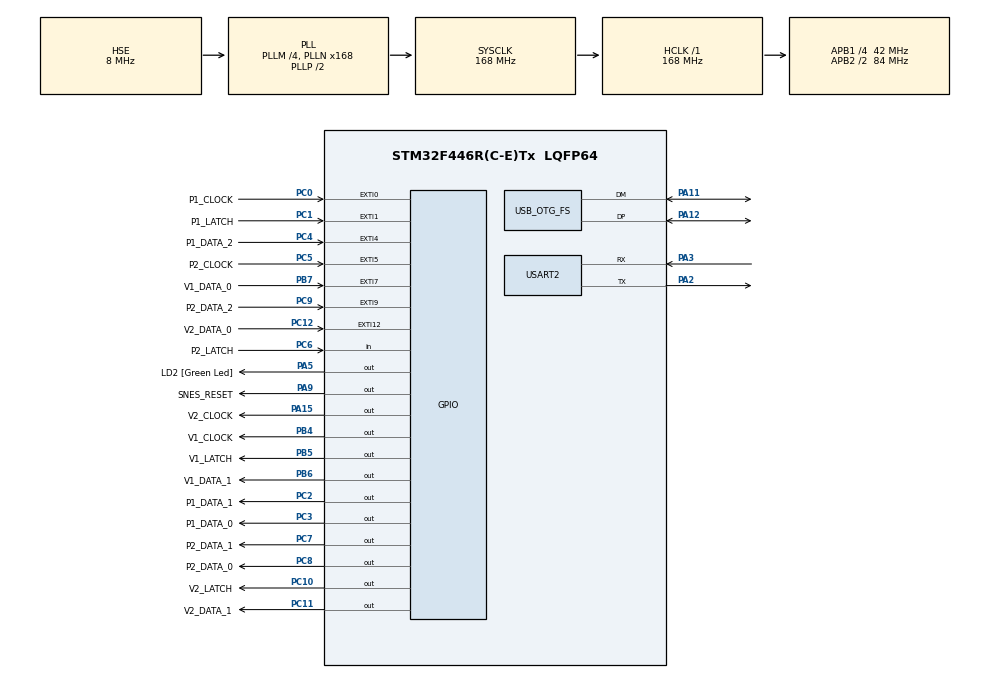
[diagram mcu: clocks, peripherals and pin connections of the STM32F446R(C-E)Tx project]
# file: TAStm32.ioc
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Mcu.Family=STM32F4
Mcu.Name=STM32F446R(C-E)Tx
Mcu.Package=LQFP64
NVIC.EXTI0_IRQn=true\:0\:0\:true\:false\:true\:true\:true
NVIC.EXTI15_10_IRQn=true\:0\:0\:false\:false\:true\:true\:true
NVIC.EXTI1_IRQn=true\:1\:0\:true\:false\:true\:true\:true
NVIC.EXTI4_IRQn=true\:0\:0\:false\:false\:true\:true\:true
NVIC.EXTI9_5_IRQn=true\:0\:0\:true\:false\:true\:true\:true
NVIC.OTG_FS_IRQn=true\:3\:0\:true\:false\:true\:true\:true
NVIC.PriorityGroup=NVIC_PRIORITYGROUP_4
NVIC.TIM1_UP_TIM10_IRQn=true\:0\:0\:false\:false\:true\:true\:true
NVIC.TIM3_IRQn=true\:2\:0\:true\:false\:true\:true\:true
NVIC.TIM6_DAC_IRQn=true\:0\:0\:true\:false\:true\:true\:true
NVIC.TIM7_IRQn=true\:0\:0\:true\:false\:true\:true\:true
NVIC.USART2_IRQn=true\:3\:0\:true\:false\:true\:true\:true
PA11.Mode=Device_Only
PA11.Signal=USB_OTG_FS_DM
PA12.Mode=Device_Only
PA12.Signal=USB_OTG_FS_DP
PA13.GPIO_Label=TMS
PA13.Mode=Serial_Wire
PA13.Signal=SYS_JTMS-SWDIO
PA14.GPIO_Label=TCK
PA14.Mode=Serial_Wire
PA14.Signal=SYS_JTCK-SWCLK
PA15.GPIO_Label=V2_CLOCK
PA15.GPIO_Speed=GPIO_SPEED_FREQ_VERY_HIGH
PA15.PinState=GPIO_PIN_RESET
PA15.Signal=GPIO_Output
PA2.Mode=Asynchronous
PA2.Signal=USART2_TX
PA3.Mode=Asynchronous
PA3.Signal=USART2_RX
PA5.GPIO_Label=LD2 [Green Led]
PA5.PinState=GPIO_PIN_RESET
PA5.Signal=GPIO_Output
PA9.GPIO_Label=SNES_RESET
PA9.GPIO_ModeDefaultOutputPP=GPIO_MODE_OUTPUT_OD
PA9.GPIO_PuPd=GPIO_NOPULL
PA9.GPIO_Speed=GPIO_SPEED_FREQ_VERY_HIGH
PA9.PinState=GPIO_PIN_SET
PA9.Signal=GPIO_Output
PB3.GPIO_Label=SWO
PB3.Signal=SYS_JTDO-SWO
PB4.GPIO_Label=V1_CLOCK
PB4.GPIO_Speed=GPIO_SPEED_FREQ_VERY_HIGH
PB4.PinState=GPIO_PIN_RESET
PB4.Signal=GPIO_Output
PB5.GPIO_Label=V1_LATCH
PB5.GPIO_Speed=GPIO_SPEED_FREQ_VERY_HIGH
PB5.Signal=GPIO_Output
PB6.GPIO_Label=V1_DATA_1
PB6.GPIO_Speed=GPIO_SPEED_FREQ_VERY_HIGH
PB6.PinState=GPIO_PIN_RESET
PB6.Signal=GPIO_Output
PB7.GPIO_Label=V1_DATA_0
PB7.GPIO_ModeDefaultEXTI=GPIO_MODE_IT_FALLING
PB7.Signal=GPXTI7
PC0.GPIO_Label=P1_CLOCK
PC0.Signal=GPXTI0
PC1.GPIO_Label=P1_LATCH
PC1.Signal=GPXTI1
PC10.GPIO_Label=V2_LATCH
PC10.GPIO_Speed=GPIO_SPEED_FREQ_VERY_HIGH
PC10.PinState=GPIO_PIN_RESET
PC10.Signal=GPIO_Output
PC11.GPIO_Label=V2_DATA_1
PC11.GPIO_Speed=GPIO_SPEED_FREQ_VERY_HIGH
PC11.PinState=GPIO_PIN_RESET
PC11.Signal=GPIO_Output
PC12.GPIO_Label=V2_DATA_0
PC12.GPIO_ModeDefaultEXTI=GPIO_MODE_IT_FALLING
PC12.Signal=GPXTI12
PC2.GPIO_Label=P1_DATA_1
PC2.GPIO_ModeDefaultOutputPP=GPIO_MODE_OUTPUT_OD
PC2.GPIO_PuPd=GPIO_PULLUP
PC2.GPIO_Speed=GPIO_SPEED_FREQ_VERY_HIGH
PC2.PinState=GPIO_PIN_RESET
PC2.Signal=GPIO_Output
PC3.GPIO_Label=P1_DATA_0
PC3.GPIO_ModeDefaultOutputPP=GPIO_MODE_OUTPUT_OD
PC3.GPIO_PuPd=GPIO_PULLUP
PC3.GPIO_Speed=GPIO_SPEED_FREQ_VERY_HIGH
PC3.PinState=GPIO_PIN_RESET
PC3.Signal=GPIO_Output
PC4.GPIO_Label=P1_DATA_2
PC4.GPIO_ModeDefaultEXTI=GPIO_MODE_IT_FALLING
PC4.Signal=GPXTI4
PC5.GPIO_Label=P2_CLOCK
PC5.Signal=GPXTI5
PC6.GPIO_Label=P2_LATCH
PC6.Signal=GPIO_Input
PC7.GPIO_Label=P2_DATA_1
PC7.GPIO_ModeDefaultOutputPP=GPIO_MODE_OUTPUT_OD
PC7.GPIO_PuPd=GPIO_PULLUP
PC7.GPIO_Speed=GPIO_SPEED_FREQ_VERY_HIGH
PC7.PinState=GPIO_PIN_RESET
PC7.Signal=GPIO_Output
PC8.GPIO_Label=P2_DATA_0
PC8.GPIO_ModeDefaultOutputPP=GPIO_MODE_OUTPUT_OD
PC8.GPIO_PuPd=GPIO_PULLUP
PC8.GPIO_Speed=GPIO_SPEED_FREQ_VERY_HIGH
PC8.PinState=GPIO_PIN_RESET
PC8.Signal=GPIO_Output
PC9.GPIO_Label=P2_DATA_2
PC9.GPIO_ModeDefaultEXTI=GPIO_MODE_IT_FALLING
PC9.Signal=GPXTI9
PH0-OSC_IN.Mode=HSE-External-Oscillator
PH0-OSC_IN.Signal=RCC_OSC_IN
PH1-OSC_OUT.Mode=HSE-External-Oscillator
PH1-OSC_OUT.Signal=RCC_OSC_OUT
ProjectManager.HeapSize=0x200
ProjectManager.StackSize=0x400
ProjectManager.TargetToolchain=TrueSTUDIO
RCC.48MHZClocksFreq_Value=84000000
RCC.AHBFreq_Value=168000000
RCC.APB1CLKDivider=RCC_HCLK_DIV4
RCC.APB1Freq_Value=42000000
RCC.APB1TimFreq_Value=84000000
RCC.APB2CLKDivider=RCC_HCLK_DIV2
RCC.APB2Freq_Value=84000000
RCC.APB2TimFreq_Value=168000000
RCC.CortexFreq_Value=168000000
RCC.FLatency-AdvancedSettings=FLASH_LATENCY_5
RCC.HCLKFreq_Value=168000000
RCC.HSE_VALUE=8000000
RCC.HSI_VALUE=16000000
RCC.PLLM=4
RCC.PLLN=168
RCC.PLLQ=7
RCC.PLLSourceVirtual=RCC_PLLSOURCE_HSE
RCC.SYSCLKFreq_VALUE=168000000
RCC.SYSCLKSource=RCC_SYSCLKSOURCE_PLLCLK
RCC.USBFreq_Value=48000000
RCC.VCOOutputFreq_Value=336000000
TIM10.Period=500-1
TIM10.Prescaler=1680-1
TIM3.Period=200-1
TIM3.Prescaler=8400-1
TIM3.TIM_MasterOutputTrigger=TIM_TRGO_RESET
TIM6.Period=4-1
TIM6.Prescaler=21-1
TIM7.Period=4-1
TIM7.Prescaler=21-1
USART2.VirtualMode=VM_ASYNC
USB_DEVICE.CLASS_NAME_FS=CDC
USB_DEVICE.CONFIGURATION_STRING_CDC_FS=Serial Config
USB_DEVICE.INTERFACE_STRING_CDC_FS=Serial Interface
USB_DEVICE.MANUFACTURER_STRING-CDC_FS=Ownasaurus
USB_DEVICE.PID_CDC_FS=0x07A5
USB_DEVICE.PRODUCT_STRING_CDC_FS=TAStm32 Virtual ComPort
USB_DEVICE.VID-CDC_FS=0xB07
USB_DEVICE.VirtualMode-CDC_FS=Cdc
USB_DEVICE.VirtualModeFS=Cdc_FS
USB_OTG_FS.VirtualMode=Device_Only
VP_TIM10_VS_ClockSourceINT.Mode=Enable_Timer
VP_TIM3_VS_ClockSourceINT.Mode=Internal
VP_TIM6_VS_ClockSourceINT.Mode=Enable_Timer
VP_TIM7_VS_ClockSourceINT.Mode=Enable_Timer
VP_USB_DEVICE_VS_USB_DEVICE_CDC_FS.Mode=CDC_FS
board=NUCLEO-F446RE

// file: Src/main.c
/* USER CODE BEGIN Header */
/**
  ******************************************************************************
  * @file           : main.c
  * @brief          : Main program body
  ******************************************************************************
  ** This notice applies to any and all portions of this file
  * that are not between comment pairs USER CODE BEGIN and
  * USER CODE END. Other portions of this file, whether
  * inserted by the user or by software development tools
  * are owned by their respective copyright owners.
  *
  * COPYRIGHT(c) 2019 STMicroelectronics
  *
  * Redistribution and use in source and binary forms, with or without modification,
  * are permitted provided that the following conditions are met:
  *   1. Redistributions of source code must retain the above copyright notice,
  *      this list of conditions and the following disclaimer.
  *   2. Redistributions in binary form must reproduce the above copyright notice,
  *      this list of conditions and the following disclaimer in the documentation
  *      and/or other materials provided with the distribution.
  *   3. Neither the name of STMicroelectronics nor the names of its contributors
  *      may be used to endorse or promote products derived from this software
  *      without specific prior written permission.
  *
  * THIS SOFTWARE IS PROVIDED BY THE COPYRIGHT HOLDERS AND CONTRIBUTORS "AS IS"
  * AND ANY EXPRESS OR IMPLIED WARRANTIES, INCLUDING, BUT NOT LIMITED TO, THE
  * IMPLIED WARRANTIES OF MERCHANTABILITY AND FITNESS FOR A PARTICULAR PURPOSE ARE
  * DISCLAIMED. IN NO EVENT SHALL THE COPYRIGHT HOLDER OR CONTRIBUTORS BE LIABLE
  * FOR ANY DIRECT, INDIRECT, INCIDENTAL, SPECIAL, EXEMPLARY, OR CONSEQUENTIAL
  * DAMAGES (INCLUDING, BUT NOT LIMITED TO, PROCUREMENT OF SUBSTITUTE GOODS OR
  * SERVICES; LOSS OF USE, DATA, OR PROFITS; OR BUSINESS INTERRUPTION) HOWEVER
  * CAUSED AND ON ANY THEORY OF LIABILITY, WHETHER IN CONTRACT, STRICT LIABILITY,
  * OR TORT (INCLUDING NEGLIGENCE OR OTHERWISE) ARISING IN ANY WAY OUT OF THE USE
  * OF THIS SOFTWARE, EVEN IF ADVISED OF THE POSSIBILITY OF SUCH DAMAGE.
  *
  ******************************************************************************
  */
/* USER CODE END Header */

#include "main.h"
#include "usb_device.h"

/* USER CODE BEGIN Includes */
#include <string.h>
#include "usbd_cdc_if.h"
#include "n64.h"
#include "TASRun.h"
#include "stm32f4xx_it.h"
#include "serial_interface.h"
/* USER CODE END Includes */

TIM_HandleTypeDef htim3;
TIM_HandleTypeDef htim6;
TIM_HandleTypeDef htim7;
TIM_HandleTypeDef htim10;

UART_HandleTypeDef huart2;

/* USER CODE BEGIN PV */
extern volatile uint8_t toggleNext;
extern volatile uint8_t clockFix;
extern volatile uint8_t request_pending;

uint8_t jumpToDFU;
/* USER CODE END PV */

void SystemClock_Config(void);
static void MX_GPIO_Init(void);
static void MX_TIM3_Init(void);
static void MX_TIM6_Init(void);
static void MX_TIM7_Init(void);
static void MX_TIM10_Init(void);
static void MX_USART2_UART_Init(void);

int main(void)
{

  /* MCU Configuration--------------------------------------------------------*/

  /* Reset of all peripherals, Initializes the Flash interface and the Systick. */
  HAL_Init();

  /* Configure the system clock */
  SystemClock_Config();

  /* USER CODE BEGIN SysInit */
  serial_interface_reset();

  /* USER CODE END SysInit */

  /* Initialize all configured peripherals */
  MX_GPIO_Init();
  MX_USB_DEVICE_Init();
  MX_TIM3_Init();
  MX_TIM6_Init();
  MX_TIM7_Init();
  MX_TIM10_Init();
  MX_USART2_UART_Init();
  /* USER CODE BEGIN 2 */

  // all of the interrupts should be disabled before reaching this point
  // they will be re-enabled based on the console and number of controllers being utilized
  DisableConsoleInterrupts();
  jumpToDFU = 0;

  // ensure no buttons are pressed initially
  HAL_GPIO_WritePin(GPIOC, P1_DATA_1_Pin|P1_DATA_0_Pin|P2_DATA_2_Pin|P2_DATA_1_Pin|P2_DATA_0_Pin, GPIO_PIN_SET);

  /* USER CODE END 2 */

  /* Infinite loop */
  while (1)
  {

    /* USER CODE BEGIN 3 */
	  if(jumpToDFU == 1)
	  {
		  JumpToBootLoader();
	  }
  }
  /* USER CODE END 3 */
}

void SystemClock_Config(void)
{
  RCC_OscInitTypeDef RCC_OscInitStruct = {0};
  RCC_ClkInitTypeDef RCC_ClkInitStruct = {0};
  RCC_PeriphCLKInitTypeDef PeriphClkInitStruct = {0};

  /** Configure the main internal regulator output voltage
  */
  __HAL_RCC_PWR_CLK_ENABLE();
  __HAL_PWR_VOLTAGESCALING_CONFIG(PWR_REGULATOR_VOLTAGE_SCALE1);
  /** Initializes the CPU, AHB and APB busses clocks
  */
  RCC_OscInitStruct.OscillatorType = RCC_OSCILLATORTYPE_HSE;
  RCC_OscInitStruct.HSEState = RCC_HSE_ON;
  RCC_OscInitStruct.PLL.PLLState = RCC_PLL_ON;
  RCC_OscInitStruct.PLL.PLLSource = RCC_PLLSOURCE_HSE;
  RCC_OscInitStruct.PLL.PLLM = 4;
  RCC_OscInitStruct.PLL.PLLN = 168;
  RCC_OscInitStruct.PLL.PLLP = RCC_PLLP_DIV2;
  RCC_OscInitStruct.PLL.PLLQ = 7;
  RCC_OscInitStruct.PLL.PLLR = 2;
  if (HAL_RCC_OscConfig(&RCC_OscInitStruct) != HAL_OK)
  {
    Error_Handler();
  }
  /** Initializes the CPU, AHB and APB busses clocks
  */
  RCC_ClkInitStruct.ClockType = RCC_CLOCKTYPE_HCLK|RCC_CLOCKTYPE_SYSCLK
                              |RCC_CLOCKTYPE_PCLK1|RCC_CLOCKTYPE_PCLK2;
  RCC_ClkInitStruct.SYSCLKSource = RCC_SYSCLKSOURCE_PLLCLK;
  RCC_ClkInitStruct.AHBCLKDivider = RCC_SYSCLK_DIV1;
  RCC_ClkInitStruct.APB1CLKDivider = RCC_HCLK_DIV4;
  RCC_ClkInitStruct.APB2CLKDivider = RCC_HCLK_DIV2;

  if (HAL_RCC_ClockConfig(&RCC_ClkInitStruct, FLASH_LATENCY_5) != HAL_OK)
  {
    Error_Handler();
  }
  PeriphClkInitStruct.PeriphClockSelection = RCC_PERIPHCLK_CLK48;
  PeriphClkInitStruct.Clk48ClockSelection = RCC_CLK48CLKSOURCE_PLLQ;
  if (HAL_RCCEx_PeriphCLKConfig(&PeriphClkInitStruct) != HAL_OK)
  {
    Error_Handler();
  }
}

static void MX_TIM3_Init(void)
{

  TIM_ClockConfigTypeDef sClockSourceConfig = {0};
  TIM_MasterConfigTypeDef sMasterConfig = {0};

  htim3.Instance = TIM3;
  htim3.Init.Prescaler = 8400-1;
  htim3.Init.CounterMode = TIM_COUNTERMODE_UP;
  htim3.Init.Period = 200-1;
  htim3.Init.ClockDivision = TIM_CLOCKDIVISION_DIV1;
  htim3.Init.AutoReloadPreload = TIM_AUTORELOAD_PRELOAD_DISABLE;
  if (HAL_TIM_Base_Init(&htim3) != HAL_OK)
  {
    Error_Handler();
  }
  sClockSourceConfig.ClockSource = TIM_CLOCKSOURCE_INTERNAL;
  if (HAL_TIM_ConfigClockSource(&htim3, &sClockSourceConfig) != HAL_OK)
  {
    Error_Handler();
  }
  sMasterConfig.MasterOutputTrigger = TIM_TRGO_RESET;
  sMasterConfig.MasterSlaveMode = TIM_MASTERSLAVEMODE_DISABLE;
  if (HAL_TIMEx_MasterConfigSynchronization(&htim3, &sMasterConfig) != HAL_OK)
  {
    Error_Handler();
  }

}

static void MX_TIM6_Init(void)
{

  TIM_MasterConfigTypeDef sMasterConfig = {0};

  htim6.Instance = TIM6;
  htim6.Init.Prescaler = 21-1;
  htim6.Init.CounterMode = TIM_COUNTERMODE_UP;
  htim6.Init.Period = 4-1;
  htim6.Init.AutoReloadPreload = TIM_AUTORELOAD_PRELOAD_DISABLE;
  if (HAL_TIM_Base_Init(&htim6) != HAL_OK)
  {
    Error_Handler();
  }
  sMasterConfig.MasterOutputTrigger = TIM_TRGO_RESET;
  sMasterConfig.MasterSlaveMode = TIM_MASTERSLAVEMODE_DISABLE;
  if (HAL_TIMEx_MasterConfigSynchronization(&htim6, &sMasterConfig) != HAL_OK)
  {
    Error_Handler();
  }

}

static void MX_TIM7_Init(void)
{

  TIM_MasterConfigTypeDef sMasterConfig = {0};

  htim7.Instance = TIM7;
  htim7.Init.Prescaler = 21-1;
  htim7.Init.CounterMode = TIM_COUNTERMODE_UP;
  htim7.Init.Period = 4-1;
  htim7.Init.AutoReloadPreload = TIM_AUTORELOAD_PRELOAD_DISABLE;
  if (HAL_TIM_Base_Init(&htim7) != HAL_OK)
  {
    Error_Handler();
  }
  sMasterConfig.MasterOutputTrigger = TIM_TRGO_RESET;
  sMasterConfig.MasterSlaveMode = TIM_MASTERSLAVEMODE_DISABLE;
  if (HAL_TIMEx_MasterConfigSynchronization(&htim7, &sMasterConfig) != HAL_OK)
  {
    Error_Handler();
  }

}

static void MX_TIM10_Init(void)
{

  htim10.Instance = TIM10;
  htim10.Init.Prescaler = 1680-1;
  htim10.Init.CounterMode = TIM_COUNTERMODE_UP;
  htim10.Init.Period = 500-1;
  htim10.Init.ClockDivision = TIM_CLOCKDIVISION_DIV1;
  htim10.Init.AutoReloadPreload = TIM_AUTORELOAD_PRELOAD_DISABLE;
  if (HAL_TIM_Base_Init(&htim10) != HAL_OK)
  {
    Error_Handler();
  }

}

static void MX_USART2_UART_Init(void)
{

  huart2.Instance = USART2;
  huart2.Init.BaudRate = 115200;
  huart2.Init.WordLength = UART_WORDLENGTH_8B;
  huart2.Init.StopBits = UART_STOPBITS_1;
  huart2.Init.Parity = UART_PARITY_NONE;
  huart2.Init.Mode = UART_MODE_TX_RX;
  huart2.Init.HwFlowCtl = UART_HWCONTROL_NONE;
  huart2.Init.OverSampling = UART_OVERSAMPLING_16;
  if (HAL_UART_Init(&huart2) != HAL_OK)
  {
    Error_Handler();
  }
  /* USER CODE BEGIN USART2_Init 2 */
  //RXNE = "Receive Data register not empty"
  __HAL_UART_ENABLE_IT(&huart2, UART_IT_RXNE); // enable receive interrupts; bypass the need for calls to HAL_UART_Receive_IT()
  /* USER CODE END USART2_Init 2 */

}

static void MX_GPIO_Init(void)
{
  GPIO_InitTypeDef GPIO_InitStruct = {0};

  /* GPIO Ports Clock Enable */
  __HAL_RCC_GPIOC_CLK_ENABLE();
  __HAL_RCC_GPIOH_CLK_ENABLE();
  __HAL_RCC_GPIOA_CLK_ENABLE();
  __HAL_RCC_GPIOB_CLK_ENABLE();
  __HAL_RCC_GPIOD_CLK_ENABLE();

  /*Configure GPIO pin Output Level */
  HAL_GPIO_WritePin(GPIOC, P1_DATA_1_Pin|P1_DATA_0_Pin|P2_DATA_1_Pin|P2_DATA_0_Pin
                          |V2_LATCH_Pin|V2_DATA_1_Pin, GPIO_PIN_RESET);

  /*Configure GPIO pin Output Level */
  HAL_GPIO_WritePin(GPIOA, LD2_Pin|V2_CLOCK_Pin, GPIO_PIN_RESET);

  /*Configure GPIO pin Output Level */
  HAL_GPIO_WritePin(SNES_RESET_GPIO_Port, SNES_RESET_Pin, GPIO_PIN_SET);

  /*Configure GPIO pin Output Level */
  HAL_GPIO_WritePin(GPIOB, V1_CLOCK_Pin|V1_LATCH_Pin|V1_DATA_1_Pin, GPIO_PIN_RESET);

  /*Configure GPIO pins : PC13 PC14 PC15 */
  GPIO_InitStruct.Pin = GPIO_PIN_13|GPIO_PIN_14|GPIO_PIN_15;
  GPIO_InitStruct.Mode = GPIO_MODE_ANALOG;
  GPIO_InitStruct.Pull = GPIO_NOPULL;
  HAL_GPIO_Init(GPIOC, &GPIO_InitStruct);

  /*Configure GPIO pins : P1_CLOCK_Pin P1_LATCH_Pin P2_CLOCK_Pin */
  GPIO_InitStruct.Pin = P1_CLOCK_Pin|P1_LATCH_Pin|P2_CLOCK_Pin;
  GPIO_InitStruct.Mode = GPIO_MODE_IT_RISING;
  GPIO_InitStruct.Pull = GPIO_NOPULL;
  HAL_GPIO_Init(GPIOC, &GPIO_InitStruct);

  /*Configure GPIO pins : P1_DATA_1_Pin P1_DATA_0_Pin P2_DATA_1_Pin P2_DATA_0_Pin */
  GPIO_InitStruct.Pin = P1_DATA_1_Pin|P1_DATA_0_Pin|P2_DATA_1_Pin|P2_DATA_0_Pin;
  GPIO_InitStruct.Mode = GPIO_MODE_OUTPUT_OD;
  GPIO_InitStruct.Pull = GPIO_PULLUP;
  GPIO_InitStruct.Speed = GPIO_SPEED_FREQ_VERY_HIGH;
  HAL_GPIO_Init(GPIOC, &GPIO_InitStruct);

  /*Configure GPIO pins : PA0 PA1 PA4 PA6
                           PA7 PA8 PA10 */
  GPIO_InitStruct.Pin = GPIO_PIN_0|GPIO_PIN_1|GPIO_PIN_4|GPIO_PIN_6
                          |GPIO_PIN_7|GPIO_PIN_8|GPIO_PIN_10;
  GPIO_InitStruct.Mode = GPIO_MODE_ANALOG;
  GPIO_InitStruct.Pull = GPIO_NOPULL;
  HAL_GPIO_Init(GPIOA, &GPIO_InitStruct);

  /*Configure GPIO pin : LD2_Pin */
  GPIO_InitStruct.Pin = LD2_Pin;
  GPIO_InitStruct.Mode = GPIO_MODE_OUTPUT_PP;
  GPIO_InitStruct.Pull = GPIO_NOPULL;
  GPIO_InitStruct.Speed = GPIO_SPEED_FREQ_LOW;
  HAL_GPIO_Init(LD2_GPIO_Port, &GPIO_InitStruct);

  /*Configure GPIO pins : P1_DATA_2_Pin P2_DATA_2_Pin V2_DATA_0_Pin */
  GPIO_InitStruct.Pin = P1_DATA_2_Pin|P2_DATA_2_Pin|V2_DATA_0_Pin;
  GPIO_InitStruct.Mode = GPIO_MODE_IT_FALLING;
  GPIO_InitStruct.Pull = GPIO_NOPULL;
  HAL_GPIO_Init(GPIOC, &GPIO_InitStruct);

  /*Configure GPIO pins : PB0 PB1 PB2 PB10
                           PB12 PB13 PB14 PB15
                           PB8 PB9 */
  GPIO_InitStruct.Pin = GPIO_PIN_0|GPIO_PIN_1|GPIO_PIN_2|GPIO_PIN_10
                          |GPIO_PIN_12|GPIO_PIN_13|GPIO_PIN_14|GPIO_PIN_15
                          |GPIO_PIN_8|GPIO_PIN_9;
  GPIO_InitStruct.Mode = GPIO_MODE_ANALOG;
  GPIO_InitStruct.Pull = GPIO_NOPULL;
  HAL_GPIO_Init(GPIOB, &GPIO_InitStruct);

  /*Configure GPIO pin : P2_LATCH_Pin */
  GPIO_InitStruct.Pin = P2_LATCH_Pin;
  GPIO_InitStruct.Mode = GPIO_MODE_INPUT;
  GPIO_InitStruct.Pull = GPIO_NOPULL;
  HAL_GPIO_Init(P2_LATCH_GPIO_Port, &GPIO_InitStruct);

  /*Configure GPIO pin : SNES_RESET_Pin */
  GPIO_InitStruct.Pin = SNES_RESET_Pin;
  GPIO_InitStruct.Mode = GPIO_MODE_OUTPUT_OD;
  GPIO_InitStruct.Pull = GPIO_NOPULL;
  GPIO_InitStruct.Speed = GPIO_SPEED_FREQ_VERY_HIGH;
  HAL_GPIO_Init(SNES_RESET_GPIO_Port, &GPIO_InitStruct);

  /*Configure GPIO pin : V2_CLOCK_Pin */
  GPIO_InitStruct.Pin = V2_CLOCK_Pin;
  GPIO_InitStruct.Mode = GPIO_MODE_OUTPUT_PP;
  GPIO_InitStruct.Pull = GPIO_NOPULL;
  GPIO_InitStruct.Speed = GPIO_SPEED_FREQ_VERY_HIGH;
  HAL_GPIO_Init(V2_CLOCK_GPIO_Port, &GPIO_InitStruct);

  /*Configure GPIO pins : V2_LATCH_Pin V2_DATA_1_Pin */
  GPIO_InitStruct.Pin = V2_LATCH_Pin|V2_DATA_1_Pin;
  GPIO_InitStruct.Mode = GPIO_MODE_OUTPUT_PP;
  GPIO_InitStruct.Pull = GPIO_NOPULL;
  GPIO_InitStruct.Speed = GPIO_SPEED_FREQ_VERY_HIGH;
  HAL_GPIO_Init(GPIOC, &GPIO_InitStruct);

  /*Configure GPIO pin : PD2 */
  GPIO_InitStruct.Pin = GPIO_PIN_2;
  GPIO_InitStruct.Mode = GPIO_MODE_ANALOG;
  GPIO_InitStruct.Pull = GPIO_NOPULL;
  HAL_GPIO_Init(GPIOD, &GPIO_InitStruct);

  /*Configure GPIO pins : V1_CLOCK_Pin V1_LATCH_Pin V1_DATA_1_Pin */
  GPIO_InitStruct.Pin = V1_CLOCK_Pin|V1_LATCH_Pin|V1_DATA_1_Pin;
  GPIO_InitStruct.Mode = GPIO_MODE_OUTPUT_PP;
  GPIO_InitStruct.Pull = GPIO_NOPULL;
  GPIO_InitStruct.Speed = GPIO_SPEED_FREQ_VERY_HIGH;
  HAL_GPIO_Init(GPIOB, &GPIO_InitStruct);

  /*Configure GPIO pin : V1_DATA_0_Pin */
  GPIO_InitStruct.Pin = V1_DATA_0_Pin;
  GPIO_InitStruct.Mode = GPIO_MODE_IT_FALLING;
  GPIO_InitStruct.Pull = GPIO_NOPULL;
  HAL_GPIO_Init(V1_DATA_0_GPIO_Port, &GPIO_InitStruct);

  /* EXTI interrupt init*/
  HAL_NVIC_SetPriority(EXTI0_IRQn, 0, 0);
  HAL_NVIC_EnableIRQ(EXTI0_IRQn);

  HAL_NVIC_SetPriority(EXTI1_IRQn, 1, 0);
  HAL_NVIC_EnableIRQ(EXTI1_IRQn);

  HAL_NVIC_SetPriority(EXTI4_IRQn, 0, 0);
  HAL_NVIC_EnableIRQ(EXTI4_IRQn);

  HAL_NVIC_SetPriority(EXTI9_5_IRQn, 0, 0);
  HAL_NVIC_EnableIRQ(EXTI9_5_IRQn);

  HAL_NVIC_SetPriority(EXTI15_10_IRQn, 0, 0);
  HAL_NVIC_EnableIRQ(EXTI15_10_IRQn);

}

/* USER CODE BEGIN 4 */
void ReInitClockTimers(void)
{

	TIM_MasterConfigTypeDef sMasterConfig = {0};
	sMasterConfig.MasterOutputTrigger = TIM_TRGO_RESET;
	sMasterConfig.MasterSlaveMode = TIM_MASTERSLAVEMODE_DISABLE;

	// re-init tim6
	if (HAL_TIM_Base_Init(&htim6) != HAL_OK)
	{
		Error_Handler();
	}
	if (HAL_TIMEx_MasterConfigSynchronization(&htim6, &sMasterConfig) != HAL_OK)
	{
		Error_Handler();
	}

	// re-init tim7
	if (HAL_TIM_Base_Init(&htim7) != HAL_OK)
	{
		Error_Handler();
	}
	if (HAL_TIMEx_MasterConfigSynchronization(&htim7, &sMasterConfig) != HAL_OK)
	{
		Error_Handler();
	}

}

void DisableAllInterrupts()
{
	HAL_NVIC_DisableIRQ(OTG_FS_IRQn);
	HAL_NVIC_DisableIRQ(TIM3_IRQn);
	HAL_NVIC_DisableIRQ(TIM6_DAC_IRQn);
	HAL_NVIC_DisableIRQ(TIM7_IRQn);
	HAL_NVIC_DisableIRQ(SysTick_IRQn);

	DisableConsoleInterrupts();
}
void DisableConsoleInterrupts()
{
	HAL_NVIC_DisableIRQ(EXTI0_IRQn);
	HAL_NVIC_DisableIRQ(EXTI1_IRQn);
	HAL_NVIC_DisableIRQ(EXTI4_IRQn);
	HAL_NVIC_DisableIRQ(EXTI9_5_IRQn);
	HAL_NVIC_DisableIRQ(EXTI15_10_IRQn);
}
void EnableSNESInterrupts()
{
	HAL_NVIC_EnableIRQ(EXTI0_IRQn);
	HAL_NVIC_EnableIRQ(EXTI1_IRQn);
	HAL_NVIC_EnableIRQ(EXTI9_5_IRQn);
}
void EnableGCN64Interrupts()
{
	HAL_NVIC_EnableIRQ(EXTI4_IRQn);
	HAL_NVIC_EnableIRQ(EXTI9_5_IRQn);
	HAL_NVIC_EnableIRQ(EXTI15_10_IRQn);
}
void ClearAllInterrupts()
{
	while (HAL_NVIC_GetPendingIRQ(OTG_FS_IRQn))
	{
		HAL_NVIC_ClearPendingIRQ(OTG_FS_IRQn);
	}

	ClearTimerInterrupts();
	ClearConsoleInterrupts();
}
void ClearTimerInterrupts()
{
	while (HAL_NVIC_GetPendingIRQ(TIM3_IRQn))
	{
		HAL_NVIC_ClearPendingIRQ(TIM3_IRQn);
	}
	while (HAL_NVIC_GetPendingIRQ(TIM6_DAC_IRQn))
	{
		HAL_NVIC_ClearPendingIRQ(TIM6_DAC_IRQn);
	}
	while (HAL_NVIC_GetPendingIRQ(TIM7_IRQn))
	{
		HAL_NVIC_ClearPendingIRQ(TIM7_IRQn);
	}
	while (HAL_NVIC_GetPendingIRQ(TIM1_UP_TIM10_IRQn))
	{
		HAL_NVIC_ClearPendingIRQ(TIM1_UP_TIM10_IRQn);
	}
}
void ClearConsoleInterrupts()
{
	while (HAL_NVIC_GetPendingIRQ(EXTI0_IRQn))
	{
		__HAL_GPIO_EXTI_CLEAR_IT(P1_CLOCK_Pin);
		HAL_NVIC_ClearPendingIRQ(EXTI0_IRQn);
	}
	while (HAL_NVIC_GetPendingIRQ(EXTI1_IRQn))
	{
		__HAL_GPIO_EXTI_CLEAR_IT(P1_LATCH_Pin);
		HAL_NVIC_ClearPendingIRQ(EXTI1_IRQn);
	}
	while (HAL_NVIC_GetPendingIRQ(EXTI4_IRQn))
	{
		__HAL_GPIO_EXTI_CLEAR_IT(P1_DATA_2_Pin);
		HAL_NVIC_ClearPendingIRQ(EXTI4_IRQn);
	}
	while (HAL_NVIC_GetPendingIRQ(EXTI9_5_IRQn))
	{
		__HAL_GPIO_EXTI_CLEAR_IT(P2_CLOCK_Pin);
		__HAL_GPIO_EXTI_CLEAR_IT(V1_DATA_0_Pin);
		__HAL_GPIO_EXTI_CLEAR_IT(P2_DATA_2_Pin);
		HAL_NVIC_ClearPendingIRQ(EXTI9_5_IRQn);
	}
	while (HAL_NVIC_GetPendingIRQ(EXTI15_10_IRQn))
	{
		__HAL_GPIO_EXTI_CLEAR_IT(V2_DATA_0_Pin);
		HAL_NVIC_ClearPendingIRQ(EXTI15_10_IRQn);
	}
}

void ReconfigureGPIOForSNES()
{

	for(int i=0; i<2; ++i)
	{
		//P1_DATA_2_Pin and P2_DATA_2_Pin have to be open-drain/pullup
		GPIO_InitTypeDef GPIO_InitStruct = {0};
		GPIO_InitStruct.Pin = GCN64_Ctrlr_Pin[i];
		GPIO_InitStruct.Mode = GPIO_MODE_OUTPUT_OD;
		GPIO_InitStruct.Pull = GPIO_PULLUP;
		GPIO_InitStruct.Speed = GPIO_SPEED_FREQ_VERY_HIGH;
		HAL_GPIO_Init(GCN64_Ctrlr_Port[i], &GPIO_InitStruct);
		EXTI->IMR &= ~(GCN64_Ctrlr_Pin[i]); //disable interrupt channel
	}
	for(int i=2; i<4; ++i){
		//V1_DATA_0_Pin and V2_DATA_0_Pin have to be push-pull
		GPIO_InitTypeDef GPIO_InitStruct = {0};
		GPIO_InitStruct.Pin = GCN64_Ctrlr_Pin[i];
		GPIO_InitStruct.Mode = GPIO_MODE_OUTPUT_PP;
		GPIO_InitStruct.Pull = GPIO_NOPULL;
		GPIO_InitStruct.Speed = GPIO_SPEED_FREQ_VERY_HIGH;
		HAL_GPIO_Init(GCN64_Ctrlr_Port[i], &GPIO_InitStruct);
		EXTI->IMR &= ~(GCN64_Ctrlr_Pin[i]); //disable interrupt channel
	}
}

void ReconfigureGPIOForGCN64(uint8_t controllersBitmask)
{
	for(int i=0; i<4; ++i)
	{
		GPIO_InitTypeDef GPIO_InitStruct = {0};
		GPIO_InitStruct.Pin = GCN64_Ctrlr_Pin[i];
		GPIO_InitStruct.Pull = GPIO_NOPULL;
		if(controllersBitmask & 0x80)
		{
			GPIO_InitStruct.Mode = GPIO_MODE_IT_FALLING;
		}
		else
		{
			GPIO_InitStruct.Mode = GPIO_MODE_INPUT;
			EXTI->IMR &= ~(GCN64_Ctrlr_Pin[i]); //disable interrupt channel
		}
		HAL_GPIO_Init(GCN64_Ctrlr_Port[i], &GPIO_InitStruct);
		controllersBitmask <<= 1;
	}
}

// Many thanks to Tien Majerle, owner of https://stm32f4-discovery.net/, for help with this function
void JumpToBootLoader(void) {
	void (*SysMemBootJump)(void);

	// De-init USB
	MX_USB_DEVICE_DeInit();

	// Disable all of our interrupts (except systick which will be handled later)
	DisableAllInterrupts();

	// De-init timers
	HAL_TIM_Base_DeInit(&htim3);
	HAL_TIM_Base_DeInit(&htim6);
	HAL_TIM_Base_DeInit(&htim7);

	// clear all interrupts
	ClearAllInterrupts();

	// Prepare to jump
	volatile uint32_t addr = 0x1FFF0000;

	// reset RCC back to default values
	HAL_RCC_DeInit();

	// clear SysTick
	SysTick->CTRL = 0;
	SysTick->LOAD = 0;
	SysTick->VAL = 0;

	// remaps the address of the system memory to 0x00000000
	// necessary for proper transition to bootloader
	SYSCFG->MEMRMP = 0x01;

	// sets destination address of the jump. note it is one word into the bootloader code which is the first instruction
	SysMemBootJump = (void (*)(void)) (*((uint32_t *)(addr + 4)));

	// sets the stack poitner to the first word of the bootloader code
	__set_MSP(*(uint32_t *)addr);

	// jump!
	SysMemBootJump();
}

/* USER CODE END 4 */

void Error_Handler(void)
{
}

/************************ (C) COPYRIGHT STMicroelectronics *****END OF FILE****/
